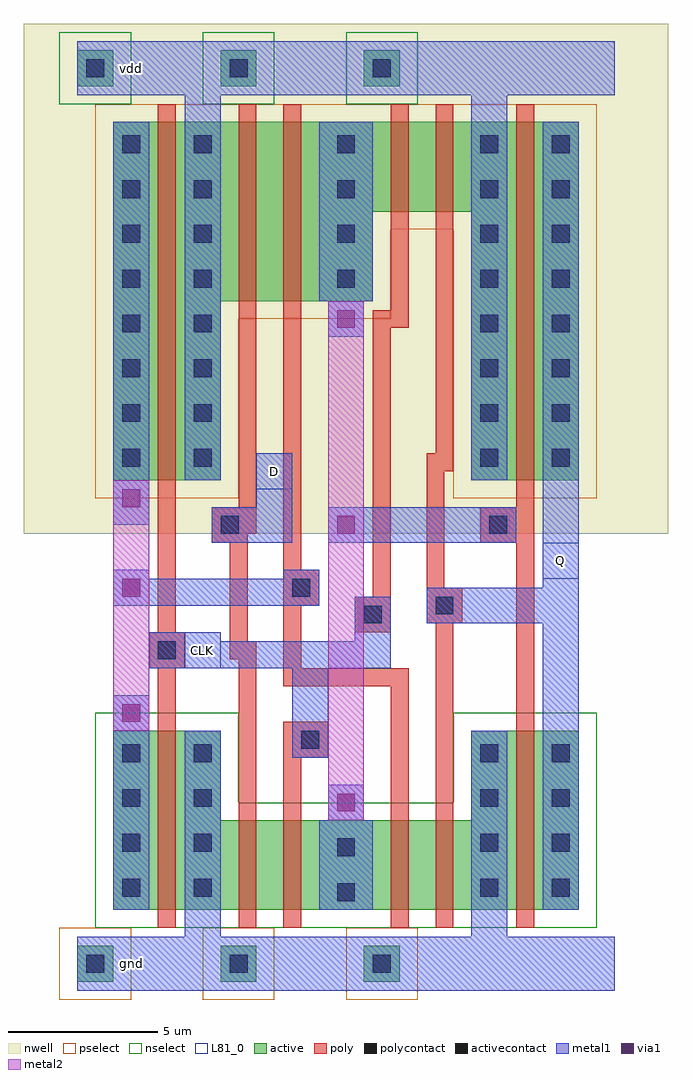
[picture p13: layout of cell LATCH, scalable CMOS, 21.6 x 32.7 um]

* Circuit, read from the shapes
.subckt LATCH CLK D Q gnd vdd
M1 gnd CLK n1 gnd nfet w=6u l=0.6u
M2 n2 D gnd gnd nfet w=3u l=0.6u
M3 n3 CLK n2 gnd nfet w=3u l=0.6u
M4 n4 n1 n3 gnd nfet w=3u l=0.6u
M5 gnd Q n4 gnd nfet w=3u l=0.6u
M6 Q n3 gnd gnd nfet w=6u l=0.6u
M7 vdd CLK n1 vdd pfet w=12u l=0.6u
M8 n5 D vdd vdd pfet w=6u l=0.6u
M9 n3 n1 n5 vdd pfet w=6u l=0.6u
M10 n6 CLK n3 vdd pfet w=3u l=0.6u
M11 vdd Q n6 vdd pfet w=3u l=0.6u
M12 Q n3 vdd vdd pfet w=12u l=0.6u
.ends

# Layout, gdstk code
import gdstk
lib = gdstk.Library(unit=1e-6, precision=1e-08)
def R(c, l, rs):  # rectangles x0, y0, x1, y1
    for r in rs: c.add(gdstk.rectangle(r[:2], r[2:], *l))
def A(c, l, x, y, w, h, nx, ny, dx, dy):  # array of equal rectangles
    R(c, l, [(x+i*dx, y+j*dy, x+i*dx+w, y+j*dy+h) for i in range(nx) for j in range(ny)])
nwell = (42, 0)
active = (43, 0)
pselect = (44, 0)
nselect = (45, 0)
poly = (46, 0)
polycontact = (47, 0)
activecontact = (48, 0)
metal1 = (49, 0)
via1 = (50, 0)
metal2 = (51, 0)
L81_0 = (81, 0)

latch = lib.new_cell('LATCH')
R(latch, nwell, [(-2.4,14.4,19.2,31.5)])
A(latch, active, -0.6, -0.6, 1.2, 1.2, 3, 2, 4.8, 30)
R(latch, active, [(0.6,1.8,16.2,4.8), (0.6,4.8,4.2,7.8), (12.6,4.8,16.2,7.8), (0.6,16.2,4.2,22.2), (12.6,16.2,16.2,25.2), (0.6,22.2,9.3,25.2), (0.6,25.2,16.2,28.2)])
A(latch, pselect, -1.2, -1.2, 2.4, 2.4, 3, 1, 4.8, 0)
R(latch, pselect, [(0,15.6,4.8,21.6), (12,15.6,16.8,24.6), (0,21.6,9.9,24.6), (0,24.6,16.8,28.8)])
A(latch, nselect, -1.2, 28.8, 2.4, 2.4, 3, 1, 4.8, 0)
R(latch, nselect, [(0,1.2,16.8,5.4), (0,5.4,4.8,8.4), (12,5.4,16.8,8.4)])
R(latch, poly, [(2.1,1.2,2.7,9.9), (4.8,1.2,5.4,10.2), (6.3,1.2,6.9,6.9), (9.9,1.2,10.5,9.3), (11.4,1.2,12,11.4), (14.1,1.2,14.7,14.1), (6.3,6.9,7.8,8.1), (6.3,9.3,10.5,9.9), (1.8,9.9,3,11.1), (6.3,9.9,6.9,12), (4.5,10.2,5.4,10.8), (4.5,10.8,5.1,14.1), (2.1,11.1,2.7,28.8), (8.7,11.1,9.9,12.3), (11.1,11.4,12.3,12.6), (6.3,12,7.5,13.2), (9.3,12.3,9.9,21.3), (11.1,12.6,11.7,16.5), (6.3,13.2,6.9,28.8), (3.9,14.1,5.1,14.4), (12.9,14.1,14.7,15.3), (3.9,14.4,5.4,15.3), (4.8,15.3,5.4,28.8), (14.1,15.3,14.7,28.8), (11.1,16.5,12,17.1), (11.4,17.1,12,28.8), (9.3,21.3,10.5,21.9), (9.9,21.9,10.5,28.8)])
R(latch, polycontact, [(6.9,7.2,7.5,7.8), (2.1,10.2,2.7,10.8), (9,11.4,9.6,12), (11.4,11.7,12,12.3), (6.6,12.3,7.2,12.9), (4.2,14.4,4.8,15), (13.2,14.4,13.8,15)])
A(latch, activecontact, -0.3, -0.3, 0.6, 0.6, 3, 2, 4.8, 30)
A(latch, activecontact, 0.9, 2.25, 0.6, 0.6, 1, 4, 0, 1.5)
A(latch, activecontact, 3.3, 2.25, 0.6, 0.6, 1, 4, 0, 1.5)
A(latch, activecontact, 12.9, 2.25, 0.6, 0.6, 1, 4, 0, 1.5)
A(latch, activecontact, 15.3, 2.25, 0.6, 0.6, 1, 4, 0, 1.5)
A(latch, activecontact, 0.9, 16.65, 0.6, 0.6, 1, 8, 0, 1.5)
A(latch, activecontact, 3.3, 16.65, 0.6, 0.6, 1, 4, 0, 1.5)
A(latch, activecontact, 12.9, 16.65, 0.6, 0.6, 1, 4, 0, 1.5)
A(latch, activecontact, 15.3, 16.65, 0.6, 0.6, 1, 8, 0, 1.5)
A(latch, activecontact, 3.3, 22.65, 0.6, 0.6, 3, 4, 4.8, 1.5)
R(latch, activecontact, [(8.1,2.1,8.7,2.7), (8.1,3.6,8.7,4.2)])
R(latch, metal1, [(-0.6,-0.9,17.4,0.9), (3,0.9,4.2,7.8), (12.6,0.9,13.8,7.8), (0.6,1.8,1.8,9), (7.5,1.8,9.3,4.8), (15,1.8,16.2,11.4), (7.8,4.8,9,6), (6.6,6.9,7.8,9.9), (1.8,9.9,9.9,10.8), (1.8,10.8,4.2,11.1), (8.7,10.8,9.9,12.3), (11.1,11.4,16.2,12.6), (0.6,12,7.5,12.9), (15,12.6,16.2,28.2), (0.6,12.9,1.8,13.2), (6.3,12.9,7.5,13.2), (3.9,14.1,6.6,15.3), (7.8,14.1,14.1,15.3), (0.6,14.7,1.8,28.2), (5.4,15.3,6.6,17.1), (3,16.2,4.2,29.1), (12.6,16.2,13.8,29.1), (7.8,21,9,22.2), (7.5,22.2,9.3,28.2), (-0.6,29.1,17.4,30.9)])
R(latch, via1, [(8.1,5.1,8.7,5.7), (0.9,8.1,1.5,8.7), (0.9,12.3,1.5,12.9), (8.1,14.4,8.7,15), (0.9,15.3,1.5,15.9), (8.1,21.3,8.7,21.9)])
R(latch, metal2, [(7.8,4.8,9,22.2), (0.6,7.8,1.8,16.2)])
R(latch, L81_0, [(3,9.9,4.2,11.1), (15,12.9,16.2,14.1), (5.4,15.9,6.6,17.1)])
latch.add(gdstk.Label('D', (6,16.5), layer=109, texttype=0))
latch.add(gdstk.Label('Q', (15.6,13.5), layer=109, texttype=0))
latch.add(gdstk.Label('gnd', (1.2,0), layer=109, texttype=0))
latch.add(gdstk.Label('vdd', (1.2,30), layer=109, texttype=0))
latch.add(gdstk.Label('CLK', (3.6,10.5), layer=109, texttype=0))

lib.write_gds('LATCH.gds')
